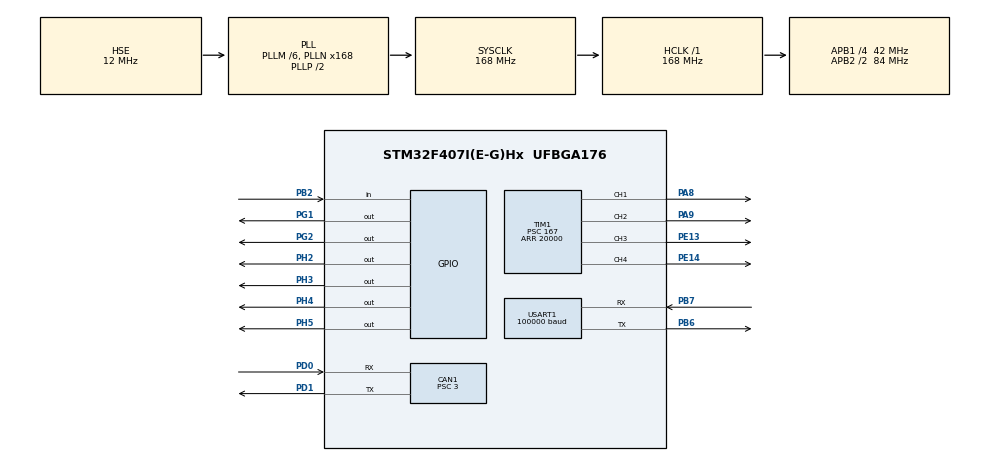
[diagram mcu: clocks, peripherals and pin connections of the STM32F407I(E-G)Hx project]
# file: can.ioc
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CAN1.BS1=CAN_BS1_10TQ
CAN1.BS2=CAN_BS2_3TQ
CAN1.CalculateTimeQuantum=71.42857142857143
CAN1.Prescaler=3
Dma.Request0=USART1_RX
Dma.USART1_RX.0.Direction=DMA_PERIPH_TO_MEMORY
Dma.USART1_RX.0.FIFOMode=DMA_FIFOMODE_DISABLE
Dma.USART1_RX.0.Instance=DMA2_Stream2
Dma.USART1_RX.0.MemDataAlignment=DMA_MDATAALIGN_BYTE
Dma.USART1_RX.0.MemInc=DMA_MINC_ENABLE
Dma.USART1_RX.0.Mode=DMA_CIRCULAR
Dma.USART1_RX.0.PeriphDataAlignment=DMA_PDATAALIGN_BYTE
Dma.USART1_RX.0.PeriphInc=DMA_PINC_DISABLE
Dma.USART1_RX.0.Priority=DMA_PRIORITY_LOW
FREERTOS.Tasks01=defaultTask,0,128,StartDefaultTask,Default,NULL,Dynamic,NULL,NULL;anothertask,0,128,TstTask,Default,NULL,Dynamic,NULL,NULL;shooterTask,0,128,shooter,Default,NULL,Dynamic,NULL,NULL
FREERTOS.configUSE_TIMERS=0
Mcu.Family=STM32F4
Mcu.Name=STM32F407I(E-G)Hx
Mcu.Package=UFBGA176
NVIC.CAN1_RX0_IRQn=true\:5\:0\:false\:false\:true\:true\:true\:true
NVIC.DMA2_Stream2_IRQn=true\:5\:0\:false\:false\:true\:true\:false\:true
NVIC.PriorityGroup=NVIC_PRIORITYGROUP_4
NVIC.TIM6_DAC_IRQn=true\:0\:0\:false\:false\:true\:false\:false\:true
NVIC.TimeBase=TIM6_DAC_IRQn
NVIC.TimeBaseIP=TIM6
NVIC.USART1_IRQn=true\:5\:0\:false\:false\:true\:true\:true\:true
PA13.Mode=Serial_Wire
PA13.Signal=SYS_JTMS-SWDIO
PA14.Mode=Serial_Wire
PA14.Signal=SYS_JTCK-SWCLK
PA8.Signal=S_TIM1_CH1
PA9.Signal=S_TIM1_CH2
PB2.Signal=GPIO_Input
PB6.Mode=Asynchronous
PB6.Signal=USART1_TX
PB7.Mode=Asynchronous
PB7.Signal=USART1_RX
PC11.Signal=USART3_RX
PD0.Mode=Master
PD0.Signal=CAN1_RX
PD1.Mode=Master
PD1.Signal=CAN1_TX
PE13.Signal=S_TIM1_CH3
PE14.Signal=S_TIM1_CH4
PG1.Signal=GPIO_Output
PG2.Signal=GPIO_Output
PH0-OSC_IN.Mode=HSE-External-Oscillator
PH0-OSC_IN.Signal=RCC_OSC_IN
PH1-OSC_OUT.Mode=HSE-External-Oscillator
PH1-OSC_OUT.Signal=RCC_OSC_OUT
PH2.Signal=GPIO_Output
PH3.Signal=GPIO_Output
PH4.Signal=GPIO_Output
PH5.Signal=GPIO_Output
ProjectManager.HeapSize=0x200
ProjectManager.StackSize=0x400
ProjectManager.TargetToolchain=MDK-ARM V5
RCC.48MHZClocksFreq_Value=84000000
RCC.AHBFreq_Value=168000000
RCC.APB1CLKDivider=RCC_HCLK_DIV4
RCC.APB1Freq_Value=42000000
RCC.APB1TimFreq_Value=84000000
RCC.APB2CLKDivider=RCC_HCLK_DIV2
RCC.APB2Freq_Value=84000000
RCC.APB2TimFreq_Value=168000000
RCC.CortexFreq_Value=168000000
RCC.HCLKFreq_Value=168000000
RCC.HSE_VALUE=12000000
RCC.HSI_VALUE=16000000
RCC.LSE_VALUE=32768
RCC.PLLM=6
RCC.PLLN=168
RCC.PLLSourceVirtual=RCC_PLLSOURCE_HSE
RCC.SYSCLKFreq_VALUE=168000000
RCC.SYSCLKSource=RCC_SYSCLKSOURCE_PLLCLK
RCC.VCOOutputFreq_Value=336000000
SH.S_TIM1_CH1.0=TIM1_CH1,PWM Generation1 CH1
SH.S_TIM1_CH2.0=TIM1_CH2,PWM Generation2 CH2
SH.S_TIM1_CH3.0=TIM1_CH3,PWM Generation3 CH3
SH.S_TIM1_CH4.0=TIM1_CH4,PWM Generation4 CH4
TIM1.Channel-PWM\ Generation1\ CH1=TIM_CHANNEL_1
TIM1.Channel-PWM\ Generation2\ CH2=TIM_CHANNEL_2
TIM1.Channel-PWM\ Generation3\ CH3=TIM_CHANNEL_3
TIM1.Channel-PWM\ Generation4\ CH4=TIM_CHANNEL_4
TIM1.Period=20000
TIM1.Prescaler=167
TIM1.Pulse-PWM\ Generation1\ CH1=1000
TIM1.Pulse-PWM\ Generation2\ CH2=1000
USART1.BaudRate=100000
USART1.Parity=PARITY_EVEN
USART1.VirtualMode=VM_ASYNC
VP_FREERTOS_VS_CMSIS_V1.Mode=CMSIS_V1
VP_SYS_VS_tim6.Mode=TIM6
board=custom

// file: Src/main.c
/* USER CODE BEGIN Header */
/**
  ******************************************************************************
  * @file           : main.c
  * @brief          : Main program body
  ******************************************************************************
  * @attention
  *
  * <h2><center>&copy; Copyright (c) 2019 STMicroelectronics.
  * All rights reserved.</center></h2>
  *
  * This software component is licensed by ST under BSD 3-Clause license,
  * the "License"; You may not use this file except in compliance with the
  * License. You may obtain a copy of the License at:
  *                        opensource.org/licenses/BSD-3-Clause
  *
  ******************************************************************************
  */
/* USER CODE END Header */

#include "main.h"
#include "cmsis_os.h"
#include "can.h"
#include "dma.h"
#include "tim.h"
#include "usart.h"
#include "gpio.h"

void SystemClock_Config(void);
void MX_FREERTOS_Init(void);

int main(void)
{

  /* MCU Configuration--------------------------------------------------------*/

  /* Reset of all peripherals, Initializes the Flash interface and the Systick. */
  HAL_Init();

  /* Configure the system clock */
  SystemClock_Config();

  /* Initialize all configured peripherals */
  MX_GPIO_Init();
  MX_CAN1_Init();
  MX_DMA_Init();
  MX_USART1_UART_Init();
  MX_TIM1_Init();
  /* USER CODE BEGIN 2 */
	can_filter_init();
	dbus_uart_init();
	HAL_TIM_PWM_Start(&htim1, TIM_CHANNEL_1); // start pwm output
	HAL_TIM_PWM_Start(&htim1, TIM_CHANNEL_2);
	HAL_TIM_PWM_Start(&htim1, TIM_CHANNEL_3);
	HAL_TIM_PWM_Start(&htim1, TIM_CHANNEL_4);
	HAL_GPIO_WritePin(GPIOH, GPIO_PIN_2|GPIO_PIN_3|GPIO_PIN_4|GPIO_PIN_5, GPIO_PIN_SET);
  /* USER CODE END 2 */

  /* Call init function for freertos objects (in freertos.c) */
  MX_FREERTOS_Init();

  /* Start scheduler */
  osKernelStart();

  /* We should never get here as control is now taken by the scheduler */

  /* Infinite loop */
  while (1)
  {

  }
}

void SystemClock_Config(void)
{
  RCC_OscInitTypeDef RCC_OscInitStruct = {0};
  RCC_ClkInitTypeDef RCC_ClkInitStruct = {0};

  /** Configure the main internal regulator output voltage
  */
  __HAL_RCC_PWR_CLK_ENABLE();
  __HAL_PWR_VOLTAGESCALING_CONFIG(PWR_REGULATOR_VOLTAGE_SCALE1);
  /** Initializes the CPU, AHB and APB busses clocks
  */
  RCC_OscInitStruct.OscillatorType = RCC_OSCILLATORTYPE_HSE;
  RCC_OscInitStruct.HSEState = RCC_HSE_ON;
  RCC_OscInitStruct.PLL.PLLState = RCC_PLL_ON;
  RCC_OscInitStruct.PLL.PLLSource = RCC_PLLSOURCE_HSE;
  RCC_OscInitStruct.PLL.PLLM = 6;
  RCC_OscInitStruct.PLL.PLLN = 168;
  RCC_OscInitStruct.PLL.PLLP = RCC_PLLP_DIV2;
  RCC_OscInitStruct.PLL.PLLQ = 4;
  if (HAL_RCC_OscConfig(&RCC_OscInitStruct) != HAL_OK)
  {
    Error_Handler();
  }
  /** Initializes the CPU, AHB and APB busses clocks
  */
  RCC_ClkInitStruct.ClockType = RCC_CLOCKTYPE_HCLK|RCC_CLOCKTYPE_SYSCLK
                              |RCC_CLOCKTYPE_PCLK1|RCC_CLOCKTYPE_PCLK2;
  RCC_ClkInitStruct.SYSCLKSource = RCC_SYSCLKSOURCE_PLLCLK;
  RCC_ClkInitStruct.AHBCLKDivider = RCC_SYSCLK_DIV1;
  RCC_ClkInitStruct.APB1CLKDivider = RCC_HCLK_DIV4;
  RCC_ClkInitStruct.APB2CLKDivider = RCC_HCLK_DIV2;

  if (HAL_RCC_ClockConfig(&RCC_ClkInitStruct, FLASH_LATENCY_5) != HAL_OK)
  {
    Error_Handler();
  }
}

void HAL_TIM_PeriodElapsedCallback(TIM_HandleTypeDef *htim)
{
  if (htim->Instance == TIM6) {
    HAL_IncTick();
  }
}

void Error_Handler(void)
{
}

/************************ (C) COPYRIGHT STMicroelectronics *****END OF FILE****/

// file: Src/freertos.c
/* USER CODE BEGIN Header */
/**
  ******************************************************************************
  * File Name          : freertos.c
  * Description        : Code for freertos applications
  ******************************************************************************
  * @attention
  *
  * <h2><center>&copy; Copyright (c) 2021 STMicroelectronics.
  * All rights reserved.</center></h2>
  *
  * This software component is licensed by ST under Ultimate Liberty license
  * SLA0044, the "License"; You may not use this file except in compliance with
  * the License. You may obtain a copy of the License at:
  *                             www.st.com/SLA0044
  *
  ******************************************************************************
  */
/* USER CODE END Header */

#include "FreeRTOS.h"
#include "task.h"
#include "main.h"
#include "cmsis_os.h"

/* USER CODE BEGIN Includes */
#include "CAN_receive.h"
#include "tim.h"
#include <stdio.h>
/* USER CODE END Includes */

/* USER CODE BEGIN Variables */

extern rc_info_t rc;
/* USER CODE END Variables */
osThreadId defaultTaskHandle;
osThreadId anothertaskHandle;
osThreadId shooterTaskHandle;

void StartDefaultTask(void const * argument);
void TstTask(void const * argument);
void shooter(void const * argument);

void MX_FREERTOS_Init(void); /* (MISRA C 2004 rule 8.1) */

/* GetIdleTaskMemory prototype (linked to static allocation support) */
void vApplicationGetIdleTaskMemory( StaticTask_t **ppxIdleTaskTCBBuffer, StackType_t **ppxIdleTaskStackBuffer, uint32_t *pulIdleTaskStackSize );

/* USER CODE BEGIN GET_IDLE_TASK_MEMORY */
static StaticTask_t xIdleTaskTCBBuffer;
static StackType_t xIdleStack[configMINIMAL_STACK_SIZE];

void vApplicationGetIdleTaskMemory( StaticTask_t **ppxIdleTaskTCBBuffer, StackType_t **ppxIdleTaskStackBuffer, uint32_t *pulIdleTaskStackSize )
{
  *ppxIdleTaskTCBBuffer = &xIdleTaskTCBBuffer;
  *ppxIdleTaskStackBuffer = &xIdleStack[0];
  *pulIdleTaskStackSize = configMINIMAL_STACK_SIZE;
  /* place for user code */
}
/* USER CODE END GET_IDLE_TASK_MEMORY */

void MX_FREERTOS_Init(void) {

  /* Create the thread(s) */
  /* definition and creation of defaultTask */
  osThreadDef(defaultTask, StartDefaultTask, osPriorityNormal, 0, 128);
  defaultTaskHandle = osThreadCreate(osThread(defaultTask), NULL);

  /* definition and creation of anothertask */
  osThreadDef(anothertask, TstTask, osPriorityNormal, 0, 128);
  anothertaskHandle = osThreadCreate(osThread(anothertask), NULL);

  /* definition and creation of shooterTask */
  osThreadDef(shooterTask, shooter, osPriorityNormal, 0, 128);
  shooterTaskHandle = osThreadCreate(osThread(shooterTask), NULL);

}

void StartDefaultTask(void const * argument)
{
  /* USER CODE BEGIN StartDefaultTask */

  /* Infinite loop */

  for(;;)
  {
		vTaskDelay(1);
	 }
  /* USER CODE END StartDefaultTask */
}

void TstTask(void const * argument)
{
  /* USER CODE BEGIN TstTask */
	int16_t x=0;
	int16_t y=0;
	int16_t raw=0;
	uint16_t shooter;  // default pwm pulse width:1080~1920
	float set_spd[4];

	for(int i=0; i<4; i++)
	{
		PID_struct_init(&pid_spd[i], POSITION_PID, 20000, 20000,
									1.5f,	0.1f,	0.0f	);  //4 motos angular rate closeloop.
	}
  /* Infinite loop */
  for(;;)
  {
		x= (int16_t)(1000*rc.ch3/660);//0~1000
		y= (int16_t)(1000*rc.ch1/660);
		raw= (int16_t)(1000*rc.ch4/660);

		shooter=100*rc.ch2/660+1300;
		//����
		set_spd[0]=y-x+raw;
		set_spd[1]=y+x-raw;
		set_spd[2]=y-x-raw;
		set_spd[3]=y+x+raw;
		for(int i=0; i<4; i++)
		{
			pid_calc(&pid_spd[i], motor_chassis[i].speed_rpm, set_spd[i]);
		}
		CAN_cmd_chassis(pid_spd[0].pos_out,pid_spd[1].pos_out,pid_spd[2].pos_out,pid_spd[3].pos_out);

		//��̨
//
		__HAL_TIM_SetCompare(&htim1, TIM_CHANNEL_1, shooter);//PA8 up and down
    __HAL_TIM_SetCompare(&htim1, TIM_CHANNEL_2, 1450);//PA9
//    __HAL_TIM_SetCompare(&htim1, TIM_CHANNEL_3, shooter);//PA10
//    __HAL_TIM_SetCompare(&htim1, TIM_CHANNEL_4, shooter);//PA11
		osDelay(1);

				//

  }
  /* USER CODE END TstTask */
}

void shooter(void const * argument)
{
  /* USER CODE BEGIN shooter */
	float set_spd[3];
	int k=0;
	for(int i=0; i<4; i++)
	{
		PID_struct_init(&pid_spd_shooter[i], POSITION_PID, 20000, 20000,
									2.0f,	0.0f,	0.1f	);  //4 motos angular rate closeloop.
	}
  /* Infinite loop */
  for(;;)
  {
				//����
		set_spd[0]=3000;
		set_spd[1]=-3000;
		set_spd[2]=50;
		HAL_GPIO_TogglePin(GPIOG,GPIO_PIN_1);
		if (rc.sw1==1)
		{
			for(int i=0; i<4; i++)
			{
				pid_calc(&pid_spd_shooter[i], motor_chassis[i+4].speed_rpm, set_spd[i]);
			}
			if (k==0)
			{
				CAN_cmd_gimbal(pid_spd_shooter[0].pos_out,pid_spd_shooter[1].pos_out,0,0);
				if(motor_chassis[4].speed_rpm>=100 && motor_chassis[5].speed_rpm<=-100)
				{
					k=1;
				}
			}
			else
			{
//				if(motor_chassis[6].speed_rpm<=100)
//				{
//					CAN_cmd_gimbal(pid_spd_shooter[0].pos_out,pid_spd_shooter[1].pos_out,-pid_spd_shooter[2].pos_out,0);
//				}
				CAN_cmd_gimbal(pid_spd_shooter[0].pos_out,pid_spd_shooter[1].pos_out,pid_spd_shooter[2].pos_out,0);
			}
		}
		else if (rc.sw1!=1)
		{
			k=0;
			CAN_cmd_gimbal(0,0,0,0);
		}
    osDelay(50);
  }
  /* USER CODE END shooter */
}

/************************ (C) COPYRIGHT STMicroelectronics *****END OF FILE****/
